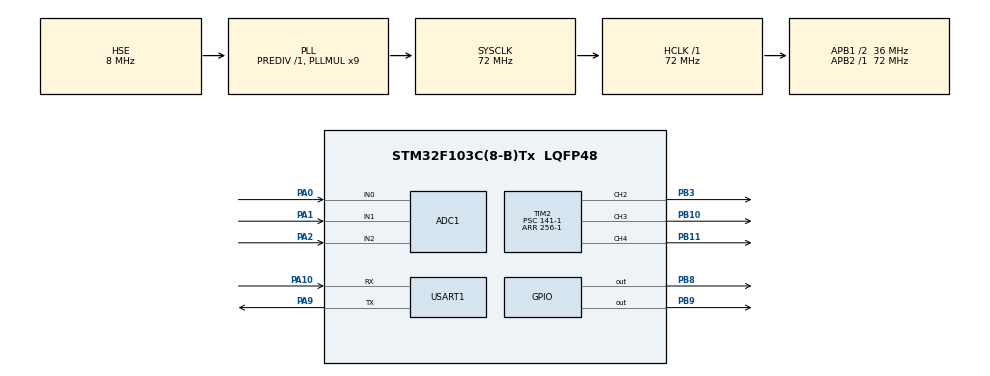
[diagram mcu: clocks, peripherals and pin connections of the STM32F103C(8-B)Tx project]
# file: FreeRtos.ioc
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ADC1.Channel-3\#ChannelRegularConversion=ADC_CHANNEL_0
ADC1.Channel-4\#ChannelRegularConversion=ADC_CHANNEL_1
ADC1.Channel-5\#ChannelRegularConversion=ADC_CHANNEL_2
ADC1.ContinuousConvMode=ENABLE
ADC1.NbrOfConversion=3
ADC1.NbrOfConversionFlag=1
ADC1.Rank-3\#ChannelRegularConversion=1
ADC1.Rank-4\#ChannelRegularConversion=2
ADC1.Rank-5\#ChannelRegularConversion=3
ADC1.SamplingTime-3\#ChannelRegularConversion=ADC_SAMPLETIME_55CYCLES_5
ADC1.SamplingTime-4\#ChannelRegularConversion=ADC_SAMPLETIME_55CYCLES_5
ADC1.SamplingTime-5\#ChannelRegularConversion=ADC_SAMPLETIME_55CYCLES_5
ADC1.master=1
Dma.ADC1.0.Direction=DMA_PERIPH_TO_MEMORY
Dma.ADC1.0.Instance=DMA1_Channel1
Dma.ADC1.0.MemDataAlignment=DMA_MDATAALIGN_HALFWORD
Dma.ADC1.0.MemInc=DMA_MINC_ENABLE
Dma.ADC1.0.Mode=DMA_CIRCULAR
Dma.ADC1.0.PeriphDataAlignment=DMA_PDATAALIGN_HALFWORD
Dma.ADC1.0.PeriphInc=DMA_PINC_DISABLE
Dma.ADC1.0.Priority=DMA_PRIORITY_LOW
Dma.Request0=ADC1
Dma.Request1=USART1_RX
Dma.USART1_RX.1.Direction=DMA_PERIPH_TO_MEMORY
Dma.USART1_RX.1.Instance=DMA1_Channel5
Dma.USART1_RX.1.MemDataAlignment=DMA_MDATAALIGN_BYTE
Dma.USART1_RX.1.MemInc=DMA_MINC_ENABLE
Dma.USART1_RX.1.Mode=DMA_NORMAL
Dma.USART1_RX.1.PeriphDataAlignment=DMA_PDATAALIGN_BYTE
Dma.USART1_RX.1.PeriphInc=DMA_PINC_DISABLE
Dma.USART1_RX.1.Priority=DMA_PRIORITY_MEDIUM
FREERTOS.Tasks01=defaultTask,0,128,StartDefaultTask,Default,NULL,Dynamic,NULL,NULL
FREERTOS.configTOTAL_HEAP_SIZE=3072*2
Mcu.Family=STM32F1
Mcu.Name=STM32F103C(8-B)Tx
Mcu.Package=LQFP48
NVIC.DMA1_Channel1_IRQn=true\:5\:0\:false\:false\:true\:true\:true\:true\:true
NVIC.DMA1_Channel5_IRQn=true\:6\:0\:true\:false\:true\:true\:false\:true\:true
NVIC.PriorityGroup=NVIC_PRIORITYGROUP_4
NVIC.TIM1_UP_IRQn=true\:15\:0\:false\:false\:true\:false\:false\:true\:true
NVIC.TimeBase=TIM1_UP_IRQn
NVIC.TimeBaseIP=TIM1
NVIC.USART1_IRQn=true\:5\:0\:false\:false\:true\:true\:true\:true\:true
PA0-WKUP.Signal=ADCx_IN0
PA1.Signal=ADCx_IN1
PA10.Mode=Asynchronous
PA10.Signal=USART1_RX
PA13.Mode=Serial_Wire
PA13.Signal=SYS_JTMS-SWDIO
PA14.Mode=Serial_Wire
PA14.Signal=SYS_JTCK-SWCLK
PA2.Signal=ADCx_IN2
PA9.Mode=Asynchronous
PA9.Signal=USART1_TX
PB10.Signal=S_TIM2_CH3
PB11.Signal=S_TIM2_CH4
PB3.Signal=S_TIM2_CH2
PB8.GPIO_ModeDefaultOutputPP=GPIO_MODE_OUTPUT_OD
PB8.GPIO_PuPd=GPIO_PULLUP
PB8.Signal=GPIO_Output
PB9.GPIO_ModeDefaultOutputPP=GPIO_MODE_OUTPUT_OD
PB9.GPIO_PuPd=GPIO_PULLUP
PB9.Signal=GPIO_Output
PC14-OSC32_IN.Mode=LSE-External-Oscillator
PC14-OSC32_IN.Signal=RCC_OSC32_IN
PC15-OSC32_OUT.Mode=LSE-External-Oscillator
PC15-OSC32_OUT.Signal=RCC_OSC32_OUT
PD0-OSC_IN.Mode=HSE-External-Oscillator
PD0-OSC_IN.Signal=RCC_OSC_IN
PD1-OSC_OUT.Mode=HSE-External-Oscillator
PD1-OSC_OUT.Signal=RCC_OSC_OUT
ProjectManager.HeapSize=0x200
ProjectManager.StackSize=0x400
ProjectManager.TargetToolchain=MDK-ARM V5.32
RCC.ADCPresc=RCC_ADCPCLK2_DIV8
RCC.AHBFreq_Value=72000000
RCC.APB1CLKDivider=RCC_HCLK_DIV2
RCC.APB1Freq_Value=36000000
RCC.APB1TimFreq_Value=72000000
RCC.APB2Freq_Value=72000000
RCC.APB2TimFreq_Value=72000000
RCC.HCLKFreq_Value=72000000
RCC.PLLMUL=RCC_PLL_MUL9
RCC.PLLSourceVirtual=RCC_PLLSOURCE_HSE
RCC.SYSCLKFreq_VALUE=72000000
RCC.SYSCLKSource=RCC_SYSCLKSOURCE_PLLCLK
RCC.USBFreq_Value=72000000
SH.ADCx_IN0.0=ADC1_IN0,IN0
SH.ADCx_IN1.0=ADC1_IN1,IN1
SH.ADCx_IN2.0=ADC1_IN2,IN2
SH.S_TIM2_CH2.0=TIM2_CH2,PWM Generation2 CH2
SH.S_TIM2_CH3.0=TIM2_CH3,PWM Generation3 CH3
SH.S_TIM2_CH4.0=TIM2_CH4,PWM Generation4 CH4
TIM2.Channel-PWM\ Generation2\ CH2=TIM_CHANNEL_2
TIM2.Channel-PWM\ Generation3\ CH3=TIM_CHANNEL_3
TIM2.Channel-PWM\ Generation4\ CH4=TIM_CHANNEL_4
TIM2.Period=256-1
TIM2.Prescaler=141-1
USART1.VirtualMode=VM_ASYNC
VP_FREERTOS_VS_CMSIS_V1.Mode=CMSIS_V1
VP_SYS_VS_tim1.Mode=TIM1
board=custom

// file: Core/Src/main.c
/* USER CODE BEGIN Header */
/**
  ******************************************************************************
  * @file           : main.c
  * @brief          : Main program body
  ******************************************************************************
  * @attention
  *
  * Copyright (c) 2026 STMicroelectronics.
  * All rights reserved.
  *
  * This software is licensed under terms that can be found in the LICENSE file
  * in the root directory of this software component.
  * If no LICENSE file comes with this software, it is provided AS-IS.
  *
  ******************************************************************************
  */
/* USER CODE END Header */
#include "main.h"
#include "cmsis_os.h"
#include "adc.h"
#include "dma.h"
#include "tim.h"
#include "usart.h"
#include "gpio.h"

/* USER CODE BEGIN Includes */
#include <stdio.h>
#include "oled.h"
#include "MyFREERTOS.h"
#define RGB_PORT GPIOB
#define RED_PIN	 GPIO_PIN_3
#define GREEN_PIN	 GPIO_PIN_10
#define BLUE_PIN	 GPIO_PIN_11
extern uint8_t UART_RX_BYTE;
/* USER CODE END Includes */

/* USER CODE BEGIN PTD */
int fputc (int ch,FILE*f)
{
	HAL_UART_Transmit(&huart1,(uint8_t*)&ch,1,1000);
     return ch;
}
/* USER CODE END PTD */

void SystemClock_Config(void);
void MX_FREERTOS_Init(void);

/* USER CODE BEGIN 0 */

void SET_RGB(uint32_t R,uint32_t G,uint32_t B)
{
    __HAL_TIM_SET_COMPARE(&htim2,TIM_CHANNEL_2,R);
	__HAL_TIM_SET_COMPARE(&htim2,TIM_CHANNEL_3,G);
	__HAL_TIM_SET_COMPARE(&htim2,TIM_CHANNEL_4,B);

}
/* USER CODE END 0 */

int main(void)
{

  /* MCU Configuration--------------------------------------------------------*/

  /* Reset of all peripherals, Initializes the Flash interface and the Systick. */
  HAL_Init();

  /* Configure the system clock */
  SystemClock_Config();

  /* Initialize all configured peripherals */
  MX_GPIO_Init();
  MX_DMA_Init();
  MX_USART1_UART_Init();
  MX_ADC1_Init();
  MX_TIM2_Init();
  /* USER CODE BEGIN 2 */
	HAL_TIM_Base_Start(&htim2);
	HAL_TIM_PWM_Start(&htim2, TIM_CHANNEL_2);  // 启动红色PWM
	HAL_TIM_PWM_Start(&htim2, TIM_CHANNEL_3);  // 启动绿色PWM
	HAL_TIM_PWM_Start(&htim2, TIM_CHANNEL_4);  // 启动蓝色PWM
	HAL_UART_Receive_IT(&huart1,&UART_RX_BYTE,1);// 使能串口接收中断
	FREEROOS_Init();
  /* USER CODE END 2 */

  /* Call init function for freertos objects (in cmsis_os2.c) */
  MX_FREERTOS_Init();

  /* Start scheduler */
  osKernelStart();

  /* We should never get here as control is now taken by the scheduler */

  /* Infinite loop */
  while (1)
  {

  }
}

void SystemClock_Config(void)
{
  RCC_OscInitTypeDef RCC_OscInitStruct = {0};
  RCC_ClkInitTypeDef RCC_ClkInitStruct = {0};
  RCC_PeriphCLKInitTypeDef PeriphClkInit = {0};

  /** Initializes the RCC Oscillators according to the specified parameters
  * in the RCC_OscInitTypeDef structure.
  */
  RCC_OscInitStruct.OscillatorType = RCC_OSCILLATORTYPE_HSE;
  RCC_OscInitStruct.HSEState = RCC_HSE_ON;
  RCC_OscInitStruct.HSEPredivValue = RCC_HSE_PREDIV_DIV1;
  RCC_OscInitStruct.HSIState = RCC_HSI_ON;
  RCC_OscInitStruct.PLL.PLLState = RCC_PLL_ON;
  RCC_OscInitStruct.PLL.PLLSource = RCC_PLLSOURCE_HSE;
  RCC_OscInitStruct.PLL.PLLMUL = RCC_PLL_MUL9;
  if (HAL_RCC_OscConfig(&RCC_OscInitStruct) != HAL_OK)
  {
    Error_Handler();
  }

  /** Initializes the CPU, AHB and APB buses clocks
  */
  RCC_ClkInitStruct.ClockType = RCC_CLOCKTYPE_HCLK|RCC_CLOCKTYPE_SYSCLK
                              |RCC_CLOCKTYPE_PCLK1|RCC_CLOCKTYPE_PCLK2;
  RCC_ClkInitStruct.SYSCLKSource = RCC_SYSCLKSOURCE_PLLCLK;
  RCC_ClkInitStruct.AHBCLKDivider = RCC_SYSCLK_DIV1;
  RCC_ClkInitStruct.APB1CLKDivider = RCC_HCLK_DIV2;
  RCC_ClkInitStruct.APB2CLKDivider = RCC_HCLK_DIV1;

  if (HAL_RCC_ClockConfig(&RCC_ClkInitStruct, FLASH_LATENCY_2) != HAL_OK)
  {
    Error_Handler();
  }
  PeriphClkInit.PeriphClockSelection = RCC_PERIPHCLK_ADC;
  PeriphClkInit.AdcClockSelection = RCC_ADCPCLK2_DIV8;
  if (HAL_RCCEx_PeriphCLKConfig(&PeriphClkInit) != HAL_OK)
  {
    Error_Handler();
  }
}

void HAL_TIM_PeriodElapsedCallback(TIM_HandleTypeDef *htim)
{
  if (htim->Instance == TIM1)
  {
    HAL_IncTick();
  }
}

void Error_Handler(void)
{
  __disable_irq();
  while (1)
  {
  }
}
